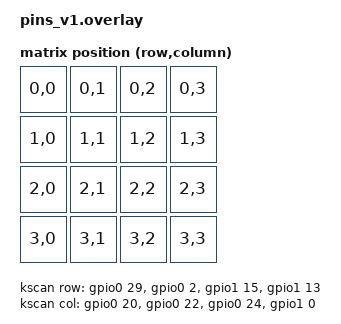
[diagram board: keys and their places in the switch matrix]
#include <dt-bindings/zmk/matrix_transform.h>

#include "macropad-layouts.dtsi"

/ {
    chosen {
        zmk,physical-layout = &default_layout;
    };

    kscan: kscan {
        compatible = "zmk,kscan-gpio-matrix";
        diode-direction = "col2row";
        wakeup-source;

        col-gpios
            = <&gpio0 20 GPIO_ACTIVE_HIGH>
            , <&gpio0 22 GPIO_ACTIVE_HIGH>
            , <&gpio0 24 GPIO_ACTIVE_HIGH>
            , <&gpio1 0  GPIO_ACTIVE_HIGH>
            ;

        row-gpios
            = <&gpio0 29 (GPIO_ACTIVE_HIGH | GPIO_PULL_DOWN)>
            , <&gpio0 2  (GPIO_ACTIVE_HIGH | GPIO_PULL_DOWN)>
            , <&gpio1 15 (GPIO_ACTIVE_HIGH | GPIO_PULL_DOWN)>
            , <&gpio1 13 (GPIO_ACTIVE_HIGH | GPIO_PULL_DOWN)>
            ;
    };

    default_transform: default_transform {
        compatible = "zmk,matrix-transform";
        columns = <4>;
        rows = <4>;

        map = <
            RC(0,0) RC(0,1) RC(0,2) RC(0,3)
            RC(1,0) RC(1,1) RC(1,2) RC(1,3)
            RC(2,0) RC(2,1) RC(2,2) RC(2,3)
            RC(3,0) RC(3,1) RC(3,2) RC(3,3)
        >;
    };
};
